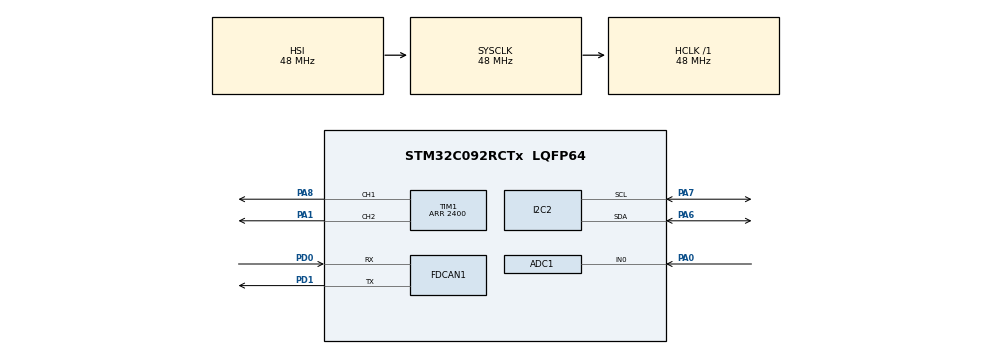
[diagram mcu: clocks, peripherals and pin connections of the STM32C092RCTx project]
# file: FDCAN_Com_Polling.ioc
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ADC1.NbrOfConversionFlag=0
ADC1.SelectedChannel=ADC_CHANNEL_0
ADC1.master=1
FDCAN1.AutoRetransmission=ENABLE
FDCAN1.CalculateBaudRateData=1000000
FDCAN1.CalculateBaudRateNominal=1000000
FDCAN1.CalculateTimeBitNominal=1000
FDCAN1.CalculateTimeQuantumNominal=20.833333333333332
FDCAN1.DataSyncJumpWidth=6
FDCAN1.DataTimeSeg1=17
FDCAN1.DataTimeSeg2=6
FDCAN1.FrameFormat=FDCAN_FRAME_FD_BRS
FDCAN1.NominalPrescaler=1
FDCAN1.NominalSyncJumpWidth=12
FDCAN1.NominalTimeSeg1=35
FDCAN1.NominalTimeSeg2=12
FDCAN1.StdFiltersNbr=1
FDCAN1.TransmitPause=ENABLE
I2C2.Timing=0x10805D88
Mcu.Family=STM32C0
Mcu.Name=STM32C092RCTx
Mcu.Package=LQFP64
NUCLEO-C092RC.LD1=true
NUCLEO-C092RC.LD2=true
NUCLEO-C092RC.VCP=true
NVIC.TIM2_IRQn=true\:0\:0\:false\:false\:true\:true\:true\:true
PA0.Mode=IN0
PA0.Signal=ADC1_IN0
PA1.Signal=S_TIM1_CH2
PA6.Mode=I2C
PA6.Signal=I2C2_SDA
PA7.Mode=I2C
PA7.Signal=I2C2_SCL
PA8.Signal=S_TIM1_CH1
PD0.Mode=FDCAN_Activate
PD0.Signal=FDCAN1_RX
PD1.Mode=FDCAN_Activate
PD1.Signal=FDCAN1_TX
ProjectManager.HeapSize=0x200
ProjectManager.StackSize=0x400
ProjectManager.TargetToolchain=CMake
RCC.ADCFreq_Value=48000000
RCC.AHBFreq_Value=48000000
RCC.CortexFreq_Value=48000000
RCC.EXTERNAL_CLOCK_VALUE=12288000
RCC.HCLKFreq_Value=48000000
RCC.HSE_VALUE=8000000
RCC.HSISYSCLKDivider=RCC_HSI_DIV1
RCC.HSI_VALUE=48000000
RCC.LSE_VALUE=32768
RCC.SYSCLKFreq_VALUE=48000000
SH.S_TIM1_CH1.0=TIM1_CH1,PWM Generation1 CH1
SH.S_TIM1_CH2.0=TIM1_CH2,PWM Generation2 CH2
TIM1.Channel-PWM\ Generation1\ CH1=TIM_CHANNEL_1
TIM1.Channel-PWM\ Generation2\ CH2=TIM_CHANNEL_2
TIM1.Period=2400
TIM2.Period=48000
VP_NUCLEO-C092RC_VS_BSP_COMMON.Mode=COMMON
VP_TIM2_VS_ClockSourceINT.Mode=Internal
board=NUCLEO-C092RC

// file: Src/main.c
/* USER CODE BEGIN Header */
/**
  ******************************************************************************
  * @file    FDCAN/FDCAN_Com_Polling/Src/main.c
  * @author  MCD Application Team
  * @brief   This sample code shows how to achieve Polling Process Communication
  *          between two FDCAN units.
  ******************************************************************************
  * @attention
  *
  * Copyright (c) 2024 STMicroelectronics.
  * All rights reserved.
  *
  * This software is licensed under terms that can be found in the LICENSE file
  * in the root directory of this software component.
  * If no LICENSE file comes with this software, it is provided AS-IS.
  *
  ******************************************************************************
  */
/* USER CODE END Header */
#include "main.h"
#include "stm32c0xx_hal.h"

/* USER CODE BEGIN PD */
#define TX_ID          (0x111)   /* TX CAN message identifier    */
#define RX_ID          (0x111)   /* RX CAN message identifier    */

#define INA219_ADDR 0x40
#define INA219_REG_CONFIG 0x00
#define INA219_REG_CURRENT 0x04
#define INA219_REG_CALIBRATION 0x05
/* USER CODE END PD */

/* USER CODE BEGIN PM */
#define COUNTOF(BUFFER) (sizeof((BUFFER)) / sizeof(*(BUFFER)))
/* USER CODE END PM */

COM_InitTypeDef BspCOMInit;
ADC_HandleTypeDef hadc1;

FDCAN_HandleTypeDef hfdcan1;

I2C_HandleTypeDef hi2c2;

TIM_HandleTypeDef htim1;
TIM_HandleTypeDef htim2;

/* USER CODE BEGIN PV */
volatile int state = 0;

#define NSAMPLES 400
volatile signed short desired_log[NSAMPLES];
volatile signed short actual_log[NSAMPLES];
float Kp = 0.8f;
float Ki = 0.08f;

FDCAN_RxHeaderTypeDef rxHeader;
FDCAN_TxHeaderTypeDef txHeader;
uint8_t rxData[16U];
static const uint8_t txData[] = {0x10, 0x32, 0x54, 0x76, 0x98, 0x00, 0x11, 0x22,
                                 0x33, 0x44, 0x55, 0x66, 0x77, 0x88, 0x99, 0x00
                                };

/* USER CODE END PV */

void SystemClock_Config(void);
static void MX_GPIO_Init(void);
static void MX_FDCAN1_Init(void);
static void MX_ADC1_Init(void);
static void MX_I2C2_Init(void);
static void MX_TIM1_Init(void);
static void MX_TIM2_Init(void);

/* USER CODE BEGIN PFP */
static uint32_t BufferCmp8b(const uint8_t *pBuffer1, const uint8_t *pBuffer2, uint16_t BufferLength);

uint32_t readADC(void);

void writeINA219(int reg, int value);
signed short readINA219(unsigned char reg);
void init_ina219(void);
float read_ina219(void);
/* USER CODE END PFP */

int main(void)
{

  /* USER CODE BEGIN 1 */

  /* STM32C0xx HAL library initialization:
       - Configure the Flash prefetch
       - Systick timer is configured by default as source of time base, but user
         can eventually implement his proper time base source (a general purpose
         timer for example or other time source), keeping in mind that Time base
         duration should be kept 1ms since PPP_TIMEOUT_VALUEs are defined and
         handled in milliseconds basis.
       - Low Level Initialization
     */
  /* USER CODE END 1 */

  /* MCU Configuration--------------------------------------------------------*/

  /* Reset of all peripherals, Initializes the Flash interface and the Systick. */
  HAL_Init();

  /* Configure the system clock */
  SystemClock_Config();

  /* USER CODE BEGIN SysInit */
  /* Configure LED1 and LED2 */
  BSP_LED_Init(LED1);
  BSP_LED_Init(LED2);

  /* Configure User push-button in interrupt mode */
  BSP_PB_Init(BUTTON_USER, BUTTON_MODE_EXTI);

  /* USER CODE END SysInit */

  /* Initialize all configured peripherals */
  MX_GPIO_Init();
  MX_FDCAN1_Init();
  MX_ADC1_Init();
  MX_I2C2_Init();
  MX_TIM1_Init();
  MX_TIM2_Init();
  /* USER CODE BEGIN 2 */
  init_ina219();
  HAL_TIM_Base_Start_IT(&htim2);

  __HAL_TIM_SET_COMPARE(&htim1, TIM_CHANNEL_1, 2400);
  __HAL_TIM_SET_COMPARE(&htim1, TIM_CHANNEL_2, 2400);
  HAL_TIM_PWM_Start(&htim1, TIM_CHANNEL_1);
  HAL_TIM_PWM_Start(&htim1, TIM_CHANNEL_2);
  /* Configure reception filter to Rx FIFO 0 */
  FDCAN_FilterTypeDef        sFilterConfig;
  sFilterConfig.IdType       = FDCAN_STANDARD_ID;
  sFilterConfig.FilterIndex  = 0U;
  sFilterConfig.FilterType   = FDCAN_FILTER_MASK;
  sFilterConfig.FilterConfig = FDCAN_FILTER_TO_RXFIFO0;
  sFilterConfig.FilterID1    = TX_ID;
  sFilterConfig.FilterID2    = 0x7FF;
  if (HAL_FDCAN_ConfigFilter(&hfdcan1, &sFilterConfig) != HAL_OK)
  {
    Error_Handler();
  }

  /**
    *  Configure global filter:
    *    - Filter all remote frames with STD and EXT ID
    *    - Reject non matching frames with STD ID and EXT ID
    */
  if (HAL_FDCAN_ConfigGlobalFilter(&hfdcan1,
                                   FDCAN_REJECT, FDCAN_REJECT,
                                   FDCAN_FILTER_REMOTE, FDCAN_FILTER_REMOTE) != HAL_OK)
  {
    Error_Handler();
  }

  /* Prepare Tx message Header */
  txHeader.Identifier          = TX_ID;
  txHeader.IdType              = FDCAN_STANDARD_ID;
  txHeader.TxFrameType         = FDCAN_DATA_FRAME;
  txHeader.DataLength          = FDCAN_DLC_BYTES_16;
  txHeader.ErrorStateIndicator = FDCAN_ESI_ACTIVE;
  txHeader.BitRateSwitch       = FDCAN_BRS_ON;
  txHeader.FDFormat            = FDCAN_FD_CAN;
  txHeader.TxEventFifoControl  = FDCAN_NO_TX_EVENTS;
  txHeader.MessageMarker       = 0U;

  /**
    * Configure and enable Tx Delay Compensation, required for BRS mode.
    * TdcOffset default recommended value: DataTimeSeg1 * DataPrescaler
    * TdcFilter default recommended value: 0
    */
  if (HAL_FDCAN_ConfigTxDelayCompensation(&hfdcan1,
                                          (hfdcan1.Init.DataPrescaler * hfdcan1.Init.DataTimeSeg1), 0U) != HAL_OK)
  {
    Error_Handler();
  }

  if (HAL_FDCAN_EnableTxDelayCompensation(&hfdcan1) != HAL_OK)
  {
    Error_Handler();
  }

  /* Start FDCAN controller */
  if (HAL_FDCAN_Start(&hfdcan1) != HAL_OK)
  {
    Error_Handler();
  }
  /* USER CODE END 2 */

  /* Initialize leds */
  BSP_LED_Init(LED_GREEN);
  BSP_LED_Init(LED_BLUE);

  /* Initialize COM1 port (115200, 8 bits (7-bit data + 1 stop bit), no parity */
  BspCOMInit.BaudRate   = 115200;
  BspCOMInit.WordLength = COM_WORDLENGTH_8B;
  BspCOMInit.StopBits   = COM_STOPBITS_1;
  BspCOMInit.Parity     = COM_PARITY_NONE;
  BspCOMInit.HwFlowCtl  = COM_HWCONTROL_NONE;
  if (BSP_COM_Init(COM1, &BspCOMInit) != BSP_ERROR_NONE)
  {
    Error_Handler();
  }

  /* Infinite loop */
  /* USER CODE BEGIN WHILE */
  while (1)
  {
    uint8_t ch;
    if (HAL_UART_Receive(&hcom_uart[COM1], &ch, 1, 10) == HAL_OK)
    {
        if (ch == 'a')
        {
            state = 1;
            while (state == 1)
            {
                // do nothing
            }

            for (int i = 0; i < NSAMPLES; i++)
            {
                printf("%d %d %d\r\n", i, desired_log[i], actual_log[i]);
            }
        }
    }

    /* CAN demo code disabled for HW16 ADC test:
    while (HAL_FDCAN_GetRxFifoFillLevel(&hfdcan1, FDCAN_RX_FIFO0) < 1U)
    {
    }
    if (HAL_FDCAN_GetRxMessage(&hfdcan1, FDCAN_RX_FIFO0, &rxHeader, rxData) != HAL_OK)
    {
      Error_Handler();
    }
    if ((rxHeader.Identifier == RX_ID) &&
        (rxHeader.IdType     == FDCAN_STANDARD_ID) &&
        (rxHeader.DataLength == FDCAN_DLC_BYTES_16) &&
        (BufferCmp8b(txData, rxData, COUNTOF(rxData)) == 0U))
    {
      BSP_LED_On(LED1);
    }
    */
    /* USER CODE END WHILE */

  }
}

void SystemClock_Config(void)
{
  RCC_OscInitTypeDef RCC_OscInitStruct = {0};
  RCC_ClkInitTypeDef RCC_ClkInitStruct = {0};

  __HAL_FLASH_SET_LATENCY(FLASH_LATENCY_1);

  /** Initializes the RCC Oscillators according to the specified parameters
  * in the RCC_OscInitTypeDef structure.
  */
  RCC_OscInitStruct.OscillatorType = RCC_OSCILLATORTYPE_HSI;
  RCC_OscInitStruct.HSIState = RCC_HSI_ON;
  RCC_OscInitStruct.HSIDiv = RCC_HSI_DIV1;
  RCC_OscInitStruct.HSICalibrationValue = RCC_HSICALIBRATION_DEFAULT;
  if (HAL_RCC_OscConfig(&RCC_OscInitStruct) != HAL_OK)
  {
    Error_Handler();
  }

  /** Initializes the CPU, AHB and APB buses clocks
  */
  RCC_ClkInitStruct.ClockType = RCC_CLOCKTYPE_HCLK|RCC_CLOCKTYPE_SYSCLK
                              |RCC_CLOCKTYPE_PCLK1;
  RCC_ClkInitStruct.SYSCLKSource = RCC_SYSCLKSOURCE_HSI;
  RCC_ClkInitStruct.SYSCLKDivider = RCC_SYSCLK_DIV1;
  RCC_ClkInitStruct.AHBCLKDivider = RCC_HCLK_DIV1;
  RCC_ClkInitStruct.APB1CLKDivider = RCC_APB1_DIV1;

  if (HAL_RCC_ClockConfig(&RCC_ClkInitStruct, FLASH_LATENCY_1) != HAL_OK)
  {
    Error_Handler();
  }
}

static void MX_ADC1_Init(void)
{

  ADC_ChannelConfTypeDef sConfig = {0};

  /** Configure the global features of the ADC (Clock, Resolution, Data Alignment and number of conversion)
  */
  hadc1.Instance = ADC1;
  hadc1.Init.ClockPrescaler = ADC_CLOCK_SYNC_PCLK_DIV2;
  hadc1.Init.Resolution = ADC_RESOLUTION_12B;
  hadc1.Init.DataAlign = ADC_DATAALIGN_RIGHT;
  hadc1.Init.ScanConvMode = ADC_SCAN_SEQ_FIXED;
  hadc1.Init.EOCSelection = ADC_EOC_SINGLE_CONV;
  hadc1.Init.LowPowerAutoWait = DISABLE;
  hadc1.Init.LowPowerAutoPowerOff = DISABLE;
  hadc1.Init.ContinuousConvMode = DISABLE;
  hadc1.Init.NbrOfConversion = 1;
  hadc1.Init.DiscontinuousConvMode = DISABLE;
  hadc1.Init.ExternalTrigConv = ADC_SOFTWARE_START;
  hadc1.Init.ExternalTrigConvEdge = ADC_EXTERNALTRIGCONVEDGE_NONE;
  hadc1.Init.DMAContinuousRequests = DISABLE;
  hadc1.Init.Overrun = ADC_OVR_DATA_PRESERVED;
  hadc1.Init.SamplingTimeCommon1 = ADC_SAMPLETIME_1CYCLE_5;
  hadc1.Init.OversamplingMode = DISABLE;
  hadc1.Init.TriggerFrequencyMode = ADC_TRIGGER_FREQ_HIGH;
  if (HAL_ADC_Init(&hadc1) != HAL_OK)
  {
    Error_Handler();
  }

  /** Configure Regular Channel
  */
  sConfig.Channel = ADC_CHANNEL_0;
  sConfig.Rank = ADC_RANK_CHANNEL_NUMBER;
  if (HAL_ADC_ConfigChannel(&hadc1, &sConfig) != HAL_OK)
  {
    Error_Handler();
  }

}

static void MX_FDCAN1_Init(void)
{

  hfdcan1.Instance = FDCAN1;
  hfdcan1.Init.ClockDivider = FDCAN_CLOCK_DIV1;
  hfdcan1.Init.FrameFormat = FDCAN_FRAME_FD_BRS;
  hfdcan1.Init.Mode = FDCAN_MODE_NORMAL;
  hfdcan1.Init.AutoRetransmission = ENABLE;
  hfdcan1.Init.TransmitPause = ENABLE;
  hfdcan1.Init.ProtocolException = DISABLE;
  hfdcan1.Init.NominalPrescaler = 1;
  hfdcan1.Init.NominalSyncJumpWidth = 12;
  hfdcan1.Init.NominalTimeSeg1 = 35;
  hfdcan1.Init.NominalTimeSeg2 = 12;
  hfdcan1.Init.DataPrescaler = 1;
  hfdcan1.Init.DataSyncJumpWidth = 6;
  hfdcan1.Init.DataTimeSeg1 = 17;
  hfdcan1.Init.DataTimeSeg2 = 6;
  hfdcan1.Init.StdFiltersNbr = 1;
  hfdcan1.Init.ExtFiltersNbr = 0;
  hfdcan1.Init.TxFifoQueueMode = FDCAN_TX_FIFO_OPERATION;
  if (HAL_FDCAN_Init(&hfdcan1) != HAL_OK)
  {
    Error_Handler();
  }

}

static void MX_I2C2_Init(void)
{

  hi2c2.Instance = I2C2;
  hi2c2.Init.Timing = 0x10805D88;
  hi2c2.Init.OwnAddress1 = 0;
  hi2c2.Init.AddressingMode = I2C_ADDRESSINGMODE_7BIT;
  hi2c2.Init.DualAddressMode = I2C_DUALADDRESS_DISABLE;
  hi2c2.Init.OwnAddress2 = 0;
  hi2c2.Init.OwnAddress2Masks = I2C_OA2_NOMASK;
  hi2c2.Init.GeneralCallMode = I2C_GENERALCALL_DISABLE;
  hi2c2.Init.NoStretchMode = I2C_NOSTRETCH_DISABLE;
  if (HAL_I2C_Init(&hi2c2) != HAL_OK)
  {
    Error_Handler();
  }

  /** Configure Analogue filter
  */
  if (HAL_I2CEx_ConfigAnalogFilter(&hi2c2, I2C_ANALOGFILTER_ENABLE) != HAL_OK)
  {
    Error_Handler();
  }

  /** Configure Digital filter
  */
  if (HAL_I2CEx_ConfigDigitalFilter(&hi2c2, 0) != HAL_OK)
  {
    Error_Handler();
  }

}

static void MX_TIM1_Init(void)
{

  TIM_MasterConfigTypeDef sMasterConfig = {0};
  TIM_OC_InitTypeDef sConfigOC = {0};
  TIM_BreakDeadTimeConfigTypeDef sBreakDeadTimeConfig = {0};

  htim1.Instance = TIM1;
  htim1.Init.Prescaler = 0;
  htim1.Init.CounterMode = TIM_COUNTERMODE_UP;
  htim1.Init.Period = 2400;
  htim1.Init.ClockDivision = TIM_CLOCKDIVISION_DIV1;
  htim1.Init.RepetitionCounter = 0;
  htim1.Init.AutoReloadPreload = TIM_AUTORELOAD_PRELOAD_DISABLE;
  if (HAL_TIM_PWM_Init(&htim1) != HAL_OK)
  {
    Error_Handler();
  }
  sMasterConfig.MasterOutputTrigger = TIM_TRGO_RESET;
  sMasterConfig.MasterOutputTrigger2 = TIM_TRGO2_RESET;
  sMasterConfig.MasterSlaveMode = TIM_MASTERSLAVEMODE_DISABLE;
  if (HAL_TIMEx_MasterConfigSynchronization(&htim1, &sMasterConfig) != HAL_OK)
  {
    Error_Handler();
  }
  sConfigOC.OCMode = TIM_OCMODE_PWM1;
  sConfigOC.Pulse = 0;
  sConfigOC.OCPolarity = TIM_OCPOLARITY_HIGH;
  sConfigOC.OCNPolarity = TIM_OCNPOLARITY_HIGH;
  sConfigOC.OCFastMode = TIM_OCFAST_DISABLE;
  sConfigOC.OCIdleState = TIM_OCIDLESTATE_RESET;
  sConfigOC.OCNIdleState = TIM_OCNIDLESTATE_RESET;
  if (HAL_TIM_PWM_ConfigChannel(&htim1, &sConfigOC, TIM_CHANNEL_1) != HAL_OK)
  {
    Error_Handler();
  }
  if (HAL_TIM_PWM_ConfigChannel(&htim1, &sConfigOC, TIM_CHANNEL_2) != HAL_OK)
  {
    Error_Handler();
  }
  sBreakDeadTimeConfig.OffStateRunMode = TIM_OSSR_DISABLE;
  sBreakDeadTimeConfig.OffStateIDLEMode = TIM_OSSI_DISABLE;
  sBreakDeadTimeConfig.LockLevel = TIM_LOCKLEVEL_OFF;
  sBreakDeadTimeConfig.DeadTime = 0;
  sBreakDeadTimeConfig.BreakState = TIM_BREAK_DISABLE;
  sBreakDeadTimeConfig.BreakPolarity = TIM_BREAKPOLARITY_HIGH;
  sBreakDeadTimeConfig.BreakFilter = 0;
  sBreakDeadTimeConfig.BreakAFMode = TIM_BREAK_AFMODE_INPUT;
  sBreakDeadTimeConfig.Break2State = TIM_BREAK2_DISABLE;
  sBreakDeadTimeConfig.Break2Polarity = TIM_BREAK2POLARITY_HIGH;
  sBreakDeadTimeConfig.Break2Filter = 0;
  sBreakDeadTimeConfig.Break2AFMode = TIM_BREAK_AFMODE_INPUT;
  sBreakDeadTimeConfig.AutomaticOutput = TIM_AUTOMATICOUTPUT_DISABLE;
  if (HAL_TIMEx_ConfigBreakDeadTime(&htim1, &sBreakDeadTimeConfig) != HAL_OK)
  {
    Error_Handler();
  }
  HAL_TIM_MspPostInit(&htim1);

}

static void MX_TIM2_Init(void)
{

  TIM_ClockConfigTypeDef sClockSourceConfig = {0};
  TIM_MasterConfigTypeDef sMasterConfig = {0};

  htim2.Instance = TIM2;
  htim2.Init.Prescaler = 0;
  htim2.Init.CounterMode = TIM_COUNTERMODE_UP;
  htim2.Init.Period = 48000;
  htim2.Init.ClockDivision = TIM_CLOCKDIVISION_DIV1;
  htim2.Init.AutoReloadPreload = TIM_AUTORELOAD_PRELOAD_DISABLE;
  if (HAL_TIM_Base_Init(&htim2) != HAL_OK)
  {
    Error_Handler();
  }
  sClockSourceConfig.ClockSource = TIM_CLOCKSOURCE_INTERNAL;
  if (HAL_TIM_ConfigClockSource(&htim2, &sClockSourceConfig) != HAL_OK)
  {
    Error_Handler();
  }
  sMasterConfig.MasterOutputTrigger = TIM_TRGO_RESET;
  sMasterConfig.MasterSlaveMode = TIM_MASTERSLAVEMODE_DISABLE;
  if (HAL_TIMEx_MasterConfigSynchronization(&htim2, &sMasterConfig) != HAL_OK)
  {
    Error_Handler();
  }

}

static void MX_GPIO_Init(void)
{

  /* GPIO Ports Clock Enable */
  __HAL_RCC_GPIOA_CLK_ENABLE();
  __HAL_RCC_GPIOD_CLK_ENABLE();

}

/* USER CODE BEGIN 4 */
void HAL_TIM_PeriodElapsedCallback(TIM_HandleTypeDef *htim)
{
    if (htim == &htim2)
    {
        uint32_t pos = readADC();

        // PI current controller
        if (state == 1)
        {
            static int   counter = 0;
            static float eint    = 0.0f;
            static float desired = 200.0f;

            signed short actual = readINA219(INA219_REG_CURRENT);
            float error = desired - (float)actual;
            eint += error;
            float u = Kp * error + Ki * eint;

            if (u >  2400.0f) u =  2400.0f;
            if (u < -2400.0f) u = -2400.0f;

            if (u >= 0)
            {
                __HAL_TIM_SET_COMPARE(&htim1, TIM_CHANNEL_1, 2400);
                __HAL_TIM_SET_COMPARE(&htim1, TIM_CHANNEL_2, 2400 - (uint16_t)u);
            }
            else
            {
                __HAL_TIM_SET_COMPARE(&htim1, TIM_CHANNEL_2, 2400);
                __HAL_TIM_SET_COMPARE(&htim1, TIM_CHANNEL_1, 2400 - (uint16_t)(-u));
            }

            desired_log[counter] = (signed short)desired;
            actual_log[counter]  = actual;

            counter++;
            if (counter % 100 == 0) desired = -desired;
            if (counter >= NSAMPLES)
            {
                __HAL_TIM_SET_COMPARE(&htim1, TIM_CHANNEL_1, 2400);
                __HAL_TIM_SET_COMPARE(&htim1, TIM_CHANNEL_2, 2400);
                counter = 0;
                eint    = 0.0f;
                state   = 0;
            }
        }

        // Safety end-stop
        if (pos < 250 || pos > (4095 - 250))
        {
            __HAL_TIM_SET_COMPARE(&htim1, TIM_CHANNEL_1, 2400);
            __HAL_TIM_SET_COMPARE(&htim1, TIM_CHANNEL_2, 2400);
            BSP_LED_On(LED2);
        }
        else
        {
            BSP_LED_Off(LED2);
        }
    }
}

void init_ina219(){
    // set the INA219 sensitivity - 10 bit, plus/minus160mV, 148us per sample
    unsigned short ina219_calValue = 1024;
    unsigned short ina219_config = 0b0011000010001111;
    writeINA219(INA219_REG_CALIBRATION, ina219_calValue);
    writeINA219(INA219_REG_CONFIG, ina219_config);
}

float read_ina219(){
    float ma = 0;
    signed short value = readINA219(INA219_REG_CURRENT);
    ma = value / 3.0;
    return ma;
}

void writeINA219(int reg, int value){
    uint8_t buf[3];
    buf[0] = reg;
    buf[1] = value>>8;
    buf[2] = value&0xff;

    HAL_I2C_Master_Transmit(&hi2c2, INA219_ADDR<<1, buf, 3, 10);
}

signed short readINA219(unsigned char reg){
    HAL_I2C_Master_Transmit(&hi2c2, INA219_ADDR<<1, &reg, 1, 10);
    uint8_t buffer[2];
    HAL_I2C_Master_Receive(&hi2c2, INA219_ADDR<<1, buffer, 2, 10);

    signed short value = (buffer[0]<<8)|buffer[1];
    return value;
}

uint32_t readADC(void){
  uint32_t raw;
  HAL_ADC_Start(&hadc1);                                 // start conversion
  if (HAL_ADC_PollForConversion(&hadc1, 10) == HAL_OK)  // wait (10 ms timeout)
  {
      raw = HAL_ADC_GetValue(&hadc1);                   // read raw ADC value
  }
  else {
      raw = 0;
  }
  HAL_ADC_Stop(&hadc1);
  return raw;
}

/**
  * @brief  BSP User push-button callback
  * @param  Button Specifies the pin connected EXTI line
  * @retval None.
  */
void BSP_PB_Callback(Button_TypeDef Button)
{
  if (Button == BUTTON_USER)
  {
    /* Turn LED1 off */
    BSP_LED_Off(LED1);

    /* Add message to TX FIFO */
    if (HAL_FDCAN_AddMessageToTxFifoQ(&hfdcan1, &txHeader, txData) != HAL_OK)
    {
      Error_Handler();
    }

    /* Delay for simple button debounce */
    HAL_Delay(100U);
  }
}

/**
  * @brief  Compares two buffers.
  * @param  pBuffer1 buffer to be compared.
  * @param  pBuffer2 buffer to be compared.
  * @param  BufferLength: buffer's length.
  * @retval 0: pBuffer1 is identical to pBuffer2
  * @retval 1: pBuffer1 differs from pBuffer2
  */
static uint32_t BufferCmp8b(const uint8_t *pBuffer1, const uint8_t *pBuffer2, uint16_t BufferLength)
{
  while (BufferLength--)
  {
    if (*pBuffer1 != *pBuffer2)
    {
      return 1U;
    }

    pBuffer1++;
    pBuffer2++;
  }
  return 0U;
}
/* USER CODE END 4 */

void Error_Handler(void)
{
  /* USER CODE BEGIN Error_Handler_Debug */
  /* User can add his own implementation to report the HAL error return state */

  while (1)
  {
    /* Toggle LED2 on */
    BSP_LED_Toggle(LED2);

    /* 1s delay */
    HAL_Delay(1000U);
  }
  /* USER CODE END Error_Handler_Debug */
}
